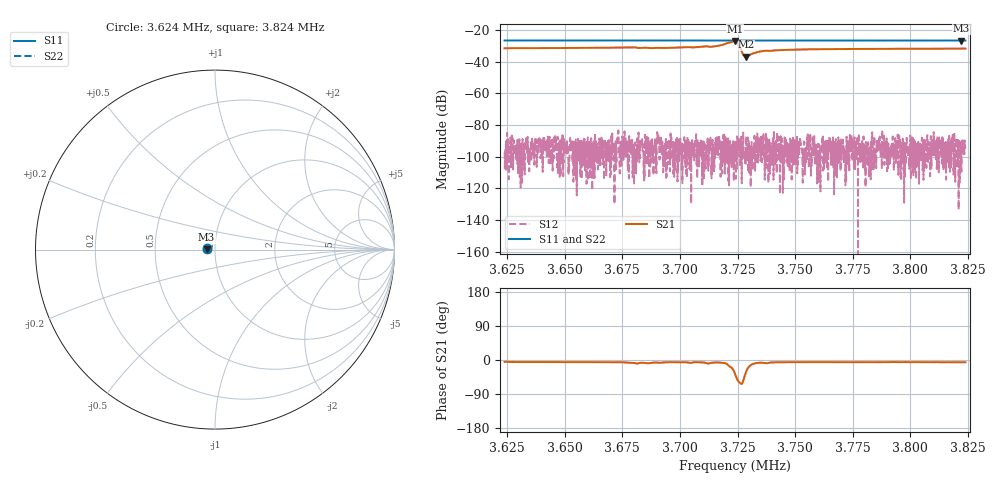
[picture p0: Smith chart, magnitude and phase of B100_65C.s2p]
# Hz S dB R 50.000
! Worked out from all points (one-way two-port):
!   6401 points, 3.624 MHz to 3.824 MHz, reference 50 ohm
!   highest |S21| = -26.80 dB at 3.724 MHz (marker M1); lowest = -36.8 dB at 3.729 MHz (marker M2)
!   lowest |S11| = -26.6 dB at 3.822 MHz (marker M3), VSWR 1.10, Z = 45.5 + j0.229 ohm
!   |S11| at or under -10 dB: start of sweep to end of sweep
!   |S22| runs from -26.6 to -26.5 dB; largest |S21 - S12| = 0.046
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3623906  -26.50 175.2  -31.46 -5.0  -96.88 154.3  -26.49 169.9
3657250  -26.50 175.5  -31.23 -5.6  -98.53 -53.9  -26.51 170.2
3679968  -26.51 175.7  -30.86 -7.7  -96.73 -140.1  -26.52 170.4
3682437  -26.51 175.7  -31.25 -7.8  -97.70 -123.2  -26.52 170.4
3690594  -26.51 175.8  -31.18 -7.0  -86.68 60.0  -26.52 170.5
3705750  -26.51 175.9  -30.90 -6.2  -94.08 31.2  -26.53 170.6
3711094  -26.52 175.9  -30.23 -7.3  -92.26 104.8  -26.53 170.7
3713781  -26.52 176.0  -30.45 -7.2  -109.55 113.7  -26.53 170.7
3717594  -26.51 176.0  -29.60 -6.8  -101.53 68.6  -26.53 170.8
3723062  -26.52 176.1  -27.07 -25.3  -95.52 99.2  -26.53 170.8
3723906  -26.52 176.1  -26.80 -36.6  -89.54 -88.7  -26.54 170.8
3725125  -26.52 176.1  -28.68 -54.2  -95.61 70.9  -26.53 170.8
3725844  -26.52 176.1  -30.32 -59.2  -95.58 49.1  -26.53 170.8
3727531  -26.52 176.1  -35.76 -54.2  -86.43 15.7  -26.53 170.9
3728031  -26.52 176.1  -36.62 -43.5  -97.17 -17.1  -26.54 170.9
3728531  -26.52 176.1  -36.82 -34.2  -103.49 141.0  -26.53 170.9
3732687  -26.52 176.1  -34.25 -8.7  -103.00 -172.2  -26.54 170.9
3736312  -26.52 176.2  -33.07 -7.5  -88.11 -15.3  -26.54 170.9
3757250  -26.53 176.4  -32.09 -5.8  -100.17 -15.8  -26.55 171.1
3790594  -26.53 176.6  -31.82 -5.6  -101.78 20.1  -26.56 171.4
3822187  -26.55 176.9  -31.66 -5.9  -109.44 26.1  -26.58 171.7
3823906  -26.55 177.0  -31.64 -5.9  -95.15 15.1  -26.59 171.6
